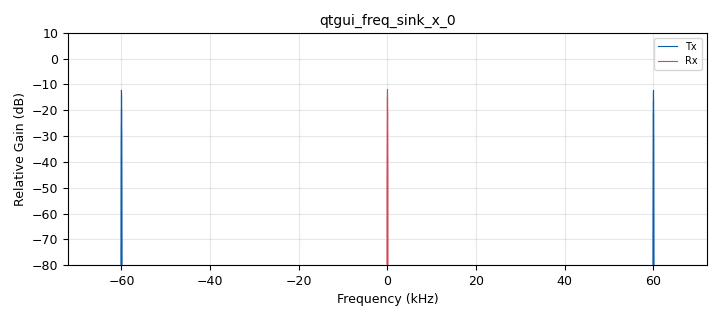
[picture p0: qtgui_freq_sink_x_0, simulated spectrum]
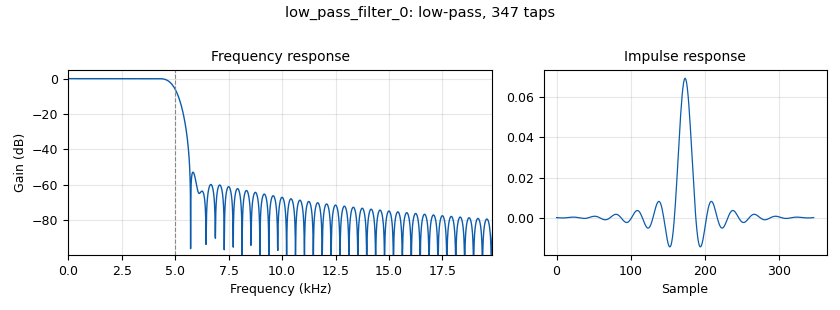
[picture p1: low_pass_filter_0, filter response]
options:
  parameters:
    author: mdoallo
    generate_options: qt_gui
    id: EC
    output_language: python
    title: Envolvente compleja en recepción
  states: {}

blocks:
- name: frec_rx
  id: variable_qtgui_range
  parameters:
    comment: 1,5,1,1
    gui_hint: 1,5,1,1
    label: Frec Rx
    start: '50000'
    step: '1000'
    stop: samp_rate/2
    value: '60000'
    widget: counter
  states: {}
- name: frec_tx
  id: variable_qtgui_range
  parameters:
    comment: 0,5,1,1
    gui_hint: 0,5,1,1
    label: 'Frec Tx '
    start: '50000'
    step: '1000'
    stop: samp_rate/2
    value: '60000'
    widget: counter
  states: {}
- name: samp_rate
  id: variable
  parameters:
    value: '144000'
  states: {}
- name: analog_sig_source_x_0
  id: analog_sig_source_x
  parameters:
    amp: '1'
    comment: |-
      Una portadora que hace las veces de señal modulada recibida
      que varia entre 50 KHz y 72 KHz
    freq: frec_tx
    offset: '0'
    phase: '0'
    samp_rate: samp_rate
    type: float
    waveform: analog.GR_COS_WAVE
  states: {}
- name: analog_sig_source_x_0_0
  id: analog_sig_source_x
  parameters:
    amp: '1'
    freq: '-frec_rx'
    offset: '0'
    phase: '0'
    samp_rate: samp_rate
    type: complex
    waveform: analog.GR_COS_WAVE
  states: {}
- name: blocks_float_to_complex_0
  id: blocks_float_to_complex
  parameters: {}
  states: {}
- name: blocks_multiply_xx_0
  id: blocks_multiply_xx
  parameters:
    type: complex
  states: {}
- name: blocks_throttle2_0
  id: blocks_throttle2
  parameters:
    samples_per_second: samp_rate
    type: float
  states: {}
- name: low_pass_filter_0
  id: low_pass_filter
  parameters:
    cutoff_freq: '5000'
    decim: '1'
    gain: '1'
    samp_rate: samp_rate
    type: fir_filter_ccf
    width: '1000'
    win: window.WIN_HAMMING
  states: {}
- name: qtgui_freq_sink_x_0
  id: qtgui_freq_sink_x
  parameters:
    bw: samp_rate
    fc: '0'
    fftsize: '4096'
    freqhalf: 'False'
    gui_hint: qtgui_tab@0
    label1: Tx
    label2: Rx
    nconnections: '2'
    type: complex
    ymin: '-80'
  states: {}
- name: qtgui_tab
  id: qtgui_tab_widget
  parameters:
    comment: 0,0,2,5
    gui_hint: 0,0,2,5
    label0: Dominio espectral
    num_tabs: '1'
  states: {}

connections:
- [analog_sig_source_x_0, '0', blocks_float_to_complex_0, '0']
- [analog_sig_source_x_0, '0', blocks_float_to_complex_0, '1']
- [analog_sig_source_x_0, '0', blocks_throttle2_0, '0']
- [analog_sig_source_x_0_0, '0', blocks_multiply_xx_0, '1']
- [blocks_float_to_complex_0, '0', blocks_multiply_xx_0, '0']
- [blocks_float_to_complex_0, '0', qtgui_freq_sink_x_0, '0']
- [blocks_multiply_xx_0, '0', low_pass_filter_0, '0']
- [low_pass_filter_0, '0', qtgui_freq_sink_x_0, '1']

metadata:
  file_format: 1
  grc_version: 3.10.12.0
